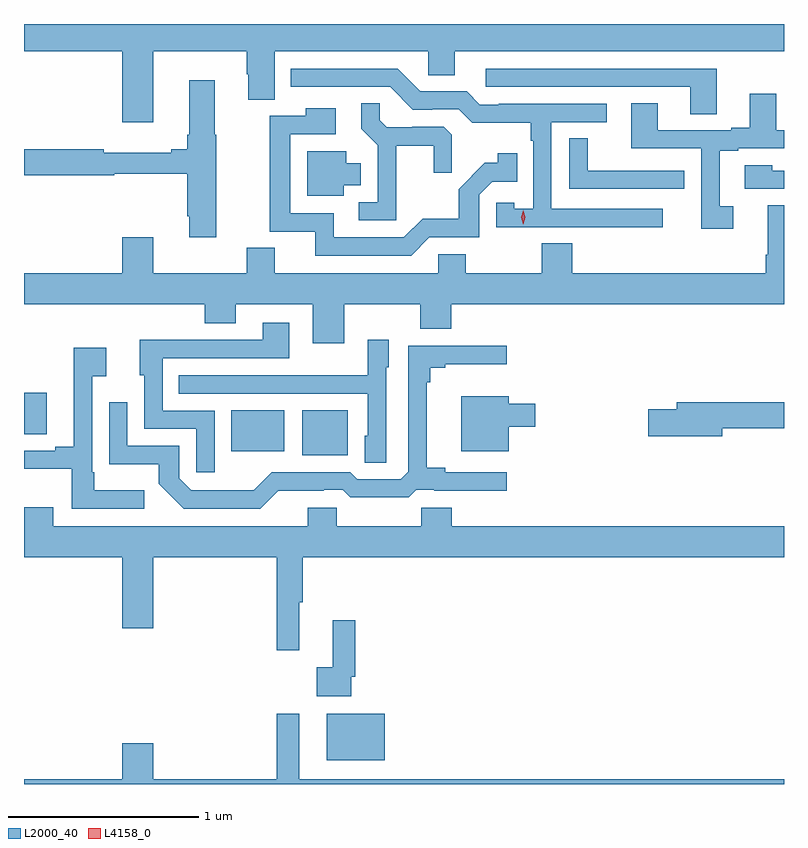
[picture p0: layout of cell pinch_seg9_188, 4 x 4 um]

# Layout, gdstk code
import gdstk
lib = gdstk.Library(unit=1e-6, precision=1e-09)
def R(c, l, rs):  # rectangles x0, y0, x1, y1
    for r in rs: c.add(gdstk.rectangle(r[:2], r[2:], *l))
def P(c, l, *ps):  # polygons
    for p in ps: c.add(gdstk.Polygon(p, *l))
L2000_40 = (2000, 40)
L4158_0 = (4158, 0)

pinch_seg9_188 = lib.new_cell('pinch_seg9_188')
R(pinch_seg9_188, L2000_40, [(633.617,1229.984,633.922,1230.229), (633.488,1231.589,633.727,1231.825), (633.116,1231.61,633.394,1231.825), (632.024,1231.699,632.143,1231.918)])
P(pinch_seg9_188, L2000_40, [(632.704,1233.716),(633.196,1233.716),(633.196,1233.594),(633.203,1233.594),(633.203,1233.46),(633.343,1233.46),(633.343,1233.716),(634.152,1233.716),(634.152,1233.589),(634.291,1233.589),(634.291,1233.716),(636.024,1233.716),(636.024,1233.859),(632.024,1233.859),(632.024,1233.716),(632.54,1233.716),(632.54,1233.342),(632.704,1233.342)],
  [(635.671,1233.624),(634.455,1233.624),(634.455,1233.528),(635.531,1233.528),(635.531,1233.385),(635.671,1233.385)],
  [(635.386,1232.886),(634.8,1232.886),(634.8,1233.342),(635.092,1233.342),(635.092,1233.438),(634.522,1233.438),(634.522,1233.435),(634.422,1233.435),(634.353,1233.504),(634.11,1233.504),(633.99,1233.624),(633.428,1233.624),(633.428,1233.528),(633.951,1233.528),(634.071,1233.408),(634.172,1233.408),(634.172,1233.411),(634.311,1233.411),(634.384,1233.338),(634.692,1233.338),(634.692,1233.245),(634.704,1233.245),(634.704,1232.887),(634.605,1232.887),(634.605,1232.919),(634.509,1232.919),(634.509,1232.79),(634.993,1232.79),(634.993,1232.788),(635.386,1232.788)],
  [(633.036,1233.277),(633.028,1233.277),(633.028,1233.562),(632.894,1233.562),(632.894,1233.277),(632.882,1233.277),(632.882,1233.2),(632.798,1233.2),(632.798,1233.181),(632.444,1233.181),(632.444,1233.2),(632.024,1233.2),(632.024,1233.064),(632.498,1233.064),(632.498,1233.072),(632.882,1233.072),(632.882,1232.848),(632.894,1232.848),(632.894,1232.736),(633.036,1232.736)],
  [(635.758,1232.901),(635.686,1232.901),(635.686,1233.192),(635.782,1233.192),(635.782,1233.204),(636.024,1233.204),(636.024,1233.3),(635.983,1233.3),(635.983,1233.493),(635.843,1233.493),(635.843,1233.313),(635.747,1233.313),(635.747,1233.3),(635.359,1233.3),(635.359,1233.443),(635.219,1233.443),(635.219,1233.204),(635.589,1233.204),(635.589,1232.781),(635.758,1232.781)],
  [(633.983,1233.218),(634.18,1233.218),(634.18,1233.075),(634.274,1233.075),(634.274,1233.277),(634.233,1233.318),(634.068,1233.318),(634.068,1233.315),(633.934,1233.315),(633.897,1233.352),(633.897,1233.443),(633.799,1233.443),(633.799,1233.307),(633.885,1233.221),(633.885,1232.922),(633.786,1232.922),(633.786,1232.826),(633.983,1232.826)],
  [(634.158,1232.736),(634.419,1232.736),(634.419,1232.961),(634.488,1233.03),(634.619,1233.03),(634.619,1233.178),(634.518,1233.178),(634.518,1233.128),(634.448,1233.128),(634.311,1232.99),(634.311,1232.835),(634.122,1232.835),(634.023,1232.736),(633.655,1232.736),(633.655,1232.862),(633.426,1232.862),(633.426,1233.279),(633.664,1233.279),(633.664,1233.415),(633.508,1233.415),(633.508,1233.375),(633.318,1233.375),(633.318,1232.766),(633.557,1232.766),(633.557,1232.64),(634.062,1232.64)],
  [(635.5,1233.086),(635.387,1233.086),(635.387,1233.087),(634.992,1233.087),(634.992,1233.257),(634.893,1233.257),(634.893,1232.991),(635.5,1232.991)],
  [(633.706,1233.011),(633.796,1233.011),(633.796,1233.127),(633.721,1233.127),(633.721,1233.19),(633.515,1233.19),(633.515,1232.954),(633.706,1232.954)],
  [(636.024,1233.087),(635.961,1233.087),(635.961,1233.115),(635.817,1233.115),(635.817,1232.991),(636.024,1232.991)],
  [(633.709,1232.384),(634.109,1232.384),(634.109,1232.256),(634.273,1232.256),(634.273,1232.384),(636.024,1232.384),(636.024,1232.905),(635.939,1232.905),(635.939,1232.644),(635.927,1232.644),(635.927,1232.548),(634.91,1232.548),(634.91,1232.705),(634.75,1232.705),(634.75,1232.548),(634.35,1232.548),(634.35,1232.646),(634.203,1232.646),(634.203,1232.548),(633.343,1232.548),(633.343,1232.681),(633.196,1232.681),(633.196,1232.548),(632.704,1232.548),(632.704,1232.737),(632.54,1232.737),(632.54,1232.548),(632.024,1232.548),(632.024,1232.384),(632.975,1232.384),(632.975,1232.285),(633.139,1232.285),(633.139,1232.384),(633.545,1232.384),(633.545,1232.178),(633.709,1232.178)],
  [(633.027,1231.824),(632.754,1231.824),(632.754,1232.1),(633.421,1232.1),(633.421,1232.287),(633.281,1232.287),(633.281,1232.196),(632.851,1232.196),(632.851,1232.198),(632.633,1232.198),(632.633,1232.01),(632.658,1232.01),(632.658,1231.728),(632.931,1231.728),(632.931,1231.5),(633.027,1231.5)],
  [(633.93,1232.052),(633.943,1232.052),(633.943,1232.197),(633.834,1232.197),(633.834,1232.011),(633.517,1232.011),(633.517,1232.01),(632.839,1232.01),(632.839,1231.914),(633.834,1231.914),(633.834,1231.692),(633.818,1231.692),(633.818,1231.549),(633.93,1231.549)],
  [(633.362,1231.403),(633.602,1231.403),(633.602,1231.407),(633.702,1231.407),(633.742,1231.368),(634.049,1231.368),(634.089,1231.407),(634.183,1231.407),(634.183,1231.403),(634.564,1231.403),(634.564,1231.5),(634.24,1231.5),(634.24,1231.523),(634.145,1231.523),(634.145,1231.973),(634.163,1231.973),(634.163,1232.05),(634.24,1232.05),(634.24,1232.069),(634.564,1232.069),(634.564,1232.166),(634.047,1232.166),(634.047,1231.503),(634.008,1231.464),(633.777,1231.464),(633.741,1231.5),(633.327,1231.5),(633.233,1231.406),(633.128,1231.406),(633.128,1231.404),(632.904,1231.404),(632.841,1231.467),(632.841,1231.638),(632.568,1231.638),(632.568,1231.867),(632.472,1231.867),(632.472,1231.541),(632.734,1231.541),(632.734,1231.439),(632.864,1231.308),(633.267,1231.308)],
  [(632.656,1231.405),(632.395,1231.405),(632.395,1231.501),(632.382,1231.501),(632.382,1232.006),(632.458,1232.006),(632.458,1232.155),(632.285,1232.155),(632.285,1231.633),(632.189,1231.633),(632.189,1231.614),(632.024,1231.614),(632.024,1231.517),(632.274,1231.517),(632.274,1231.308),(632.656,1231.308)],
  [(634.576,1231.739),(634.714,1231.739),(634.714,1231.861),(634.576,1231.861),(634.576,1231.9),(634.325,1231.9),(634.325,1231.61),(634.576,1231.61)],
  [(635.698,1231.732),(636.024,1231.732),(636.024,1231.868),(635.459,1231.868),(635.459,1231.832),(635.31,1231.832),(635.31,1231.69),(635.698,1231.69)],
  [(633.473,1230.816),(633.491,1230.816),(633.491,1231.052),(636.024,1231.052),(636.024,1231.216),(634.274,1231.216),(634.274,1231.314),(634.114,1231.314),(634.114,1231.216),(633.669,1231.216),(633.669,1231.314),(633.518,1231.314),(633.518,1231.216),(632.179,1231.216),(632.179,1231.315),(632.024,1231.315),(632.024,1231.052),(632.54,1231.052),(632.54,1230.678),(632.704,1230.678),(632.704,1231.052),(633.355,1231.052),(633.355,1230.564),(633.473,1230.564)],
  [(633.747,1230.424),(633.767,1230.424),(633.767,1230.721),(633.65,1230.721),(633.65,1230.473),(633.564,1230.473),(633.564,1230.32),(633.747,1230.32)],
  [(636.024,1229.884),(633.472,1229.884),(633.472,1230.229),(633.355,1230.229),(633.355,1229.884),(632.704,1229.884),(632.704,1230.073),(632.54,1230.073),(632.54,1229.884),(632.024,1229.884),(632.024,1229.859),(636.024,1229.859)])
P(pinch_seg9_188, L4158_0, [(634.651,1232.805),(634.651,1232.805),(634.641,1232.841),(634.651,1232.877),(634.651,1232.878),(634.651,1232.877),(634.661,1232.841),(634.651,1232.805)])

lib.write_gds('pinch_seg9_188.gds')
